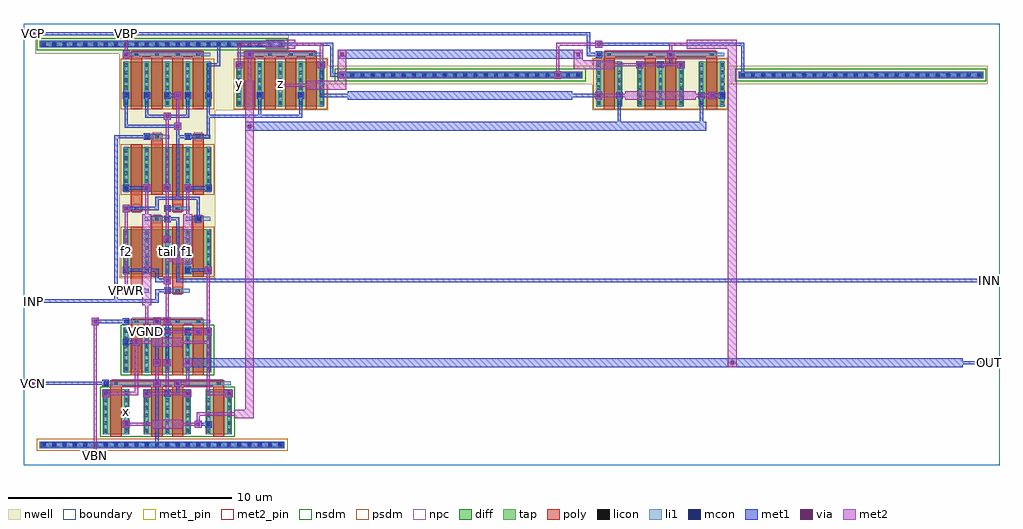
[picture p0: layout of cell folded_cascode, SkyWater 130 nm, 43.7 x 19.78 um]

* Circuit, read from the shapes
.subckt folded_cascode INN INP OUT VBN VBP VCN VCP VGND VPWR f1 f2 tail x y z
XM1 x VCN f1 VGND sky130_fd_pr__nfet_01v8 w=2 l=0.5 m=2
XM2 VGND VBN f1 VGND sky130_fd_pr__nfet_01v8 w=2 l=0.5 m=2
XM3 OUT VCN f2 VGND sky130_fd_pr__nfet_01v8 w=2 l=0.5 m=2
XM4 f2 VBN VGND VGND sky130_fd_pr__nfet_01v8 w=2 l=0.5 m=2
XM5 f2 VPWR f2 VPWR sky130_fd_pr__pfet_01v8 w=2 l=0.5 m=2
XM6 f1 VPWR f1 VPWR sky130_fd_pr__pfet_01v8 w=2 l=0.5 m=2
XM7 tail VBP VPWR VPWR sky130_fd_pr__pfet_01v8 w=2 l=0.5 m=4
XM8 tail INN f2 VPWR sky130_fd_pr__pfet_01v8 w=2 l=0.5 m=2
XM9 tail INP f1 VPWR sky130_fd_pr__pfet_01v8 w=2 l=0.5 m=2
XM10 VPWR x y VPWR sky130_fd_pr__pfet_01v8 w=2 l=0.5 m=2
XM11 z x VPWR VPWR sky130_fd_pr__pfet_01v8 w=2 l=0.5 m=2
XM12 x VCP y VPWR sky130_fd_pr__pfet_01v8 w=2 l=0.5 m=2
XM13 OUT VCP z VPWR sky130_fd_pr__pfet_01v8 w=2 l=0.5 m=2
.ends

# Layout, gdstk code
import gdstk
lib = gdstk.Library(unit=1e-6, precision=1e-09)
def R(c, l, rs):  # rectangles x0, y0, x1, y1
    for r in rs: c.add(gdstk.rectangle(r[:2], r[2:], *l))
def A(c, l, x, y, w, h, nx, ny, dx, dy):  # array of equal rectangles
    R(c, l, [(x+i*dx, y+j*dy, x+i*dx+w, y+j*dy+h) for i in range(nx) for j in range(ny)])
nwell = (64, 20)
diff = (65, 20)
tap = (65, 44)
poly = (66, 20)
licon = (66, 44)
li1 = (67, 20)
mcon = (67, 44)
met1_pin = (68, 16)
met1 = (68, 20)
via = (68, 44)
met2_pin = (69, 16)
met2 = (69, 20)
nsdm = (93, 44)
psdm = (94, 20)
npc = (95, 20)
boundary = (235, 4)

folded_cascode = lib.new_cell('folded_cascode')
R(folded_cascode, nwell, [(4.295,8.385,8.585,15.9), (4.295,15.9,13.645,17.06), (25.455,15.9,31.585,17.06), (4.295,17.06,43.165,17.9), (4.295,17.9,13.645,18.26), (25.455,17.9,31.585,18.26), (4.295,18.26,11.885,18.44), (0.535,18.44,11.885,19.28)])
R(folded_cascode, diff, [(3.555,1.405,4.725,3.405), (5.395,1.405,7.485,3.405), (8.155,1.405,9.325,3.405), (4.475,4.165,8.405,6.165), (4.475,8.565,8.405,10.565), (4.475,12.245,8.405,14.245), (4.475,16.08,8.405,18.08), (9.535,16.08,13.465,18.08), (25.635,16.08,26.805,18.08), (27.475,16.08,29.565,18.08), (30.235,16.08,31.405,18.08)])
R(folded_cascode, tap, [(0.715,0.775,11.705,1.065), (14.055,17.335,25.045,17.625), (31.995,17.335,42.985,17.625), (0.715,18.715,11.705,19.005)])
A(folded_cascode, poly, 4.81, 4.035, 0.5, 2.405, 4, 1, 0.92, 0)
A(folded_cascode, poly, 4.81, 15.95, 0.5, 2.45, 4, 1, 0.92, 0)
A(folded_cascode, poly, 9.87, 15.95, 0.5, 2.45, 4, 1, 0.92, 0)
R(folded_cascode, poly, [(3.89,1.275,4.39,3.68), (5.73,1.275,6.23,3.68), (6.65,1.275,7.15,3.68), (8.49,1.275,8.99,3.68), (3.89,3.545,8.99,3.815), (4.81,6.305,8.07,6.575), (4.81,7.685,5.31,7.955), (6.65,7.685,7.15,7.955), (4.81,7.82,5.31,10.695), (6.65,7.82,7.15,10.695), (5.73,8.435,6.23,11.04), (7.57,8.435,8.07,11.04), (5.73,10.905,6.23,11.175), (7.57,10.905,8.07,11.175), (4.81,11.365,5.31,11.635), (6.65,11.365,7.15,11.635), (4.81,11.5,5.31,14.375), (6.65,11.5,7.15,14.375), (5.73,12.115,6.23,14.72), (7.57,12.115,8.07,14.72), (5.73,14.585,6.23,14.855), (7.57,14.585,8.07,14.855), (25.97,15.95,26.47,18.4), (27.81,15.95,28.31,18.4), (28.73,15.95,29.23,18.4), (30.57,15.95,31.07,18.4), (4.81,18.265,8.07,18.535), (9.87,18.265,13.13,18.535), (25.97,18.265,31.07,18.535)])
A(folded_cascode, licon, 0.835, 0.835, 0.17, 0.17, 24, 2, 0.46, 17.94)
A(folded_cascode, licon, 3.595, 1.47, 0.17, 0.17, 7, 6, 0.92, 0.34)
A(folded_cascode, licon, 4.515, 4.23, 0.17, 0.17, 5, 6, 0.92, 0.34)
A(folded_cascode, licon, 4.975, 6.355, 0.17, 0.17, 4, 2, 0.92, 11.96)
A(folded_cascode, licon, 4.515, 8.63, 0.17, 0.17, 5, 6, 0.92, 0.34)
A(folded_cascode, licon, 4.515, 12.31, 0.17, 0.17, 5, 6, 0.92, 0.34)
A(folded_cascode, licon, 4.515, 16.145, 0.17, 0.17, 5, 6, 0.92, 0.34)
A(folded_cascode, licon, 9.575, 16.145, 0.17, 0.17, 5, 6, 0.92, 0.34)
A(folded_cascode, licon, 25.675, 16.145, 0.17, 0.17, 7, 6, 0.92, 0.34)
A(folded_cascode, licon, 14.175, 17.395, 0.17, 0.17, 24, 1, 0.46, 0)
A(folded_cascode, licon, 32.115, 17.395, 0.17, 0.17, 24, 1, 0.46, 0)
A(folded_cascode, licon, 10.035, 18.315, 0.17, 0.17, 4, 1, 0.92, 0)
R(folded_cascode, licon, [(4.055,3.595,4.225,3.765), (5.895,3.595,6.065,3.765), (6.815,3.595,6.985,3.765), (8.655,3.595,8.825,3.765), (4.975,7.735,5.145,7.905), (6.815,7.735,6.985,7.905), (5.895,10.955,6.065,11.125), (7.735,10.955,7.905,11.125), (4.975,11.415,5.145,11.585), (6.815,11.415,6.985,11.585), (5.895,14.635,6.065,14.805), (7.735,14.635,7.905,14.805), (26.135,18.315,26.305,18.485), (27.975,18.315,28.145,18.485), (28.895,18.315,29.065,18.485), (30.735,18.315,30.905,18.485)])
A(folded_cascode, li1, 3.595, 1.39, 0.17, 2.03, 7, 1, 0.92, 0)
A(folded_cascode, li1, 4.515, 4.15, 0.17, 2.03, 5, 2, 0.92, 4.4)
A(folded_cascode, li1, 4.515, 12.23, 0.17, 2.03, 5, 2, 0.92, 3.835)
A(folded_cascode, li1, 9.575, 16.065, 0.17, 2.03, 5, 1, 0.92, 0)
A(folded_cascode, li1, 25.675, 16.065, 0.17, 2.03, 7, 1, 0.92, 0)
R(folded_cascode, li1, [(0.755,0.835,11.665,1.005), (3.595,3.595,9.285,3.765), (4.515,6.355,8.365,6.525), (4.515,7.735,5.605,7.905), (6.355,7.735,7.445,7.905), (5.435,10.955,6.525,11.125), (7.275,10.955,8.365,11.125), (4.515,11.415,5.605,11.585), (6.355,11.415,7.445,11.585), (5.435,14.635,6.525,14.805), (7.275,14.635,8.365,14.805), (14.095,17.395,25.005,17.565), (32.035,17.395,42.945,17.565), (4.515,18.315,8.365,18.485), (9.575,18.315,13.425,18.485), (25.675,18.315,31.365,18.485), (0.755,18.775,11.665,18.945)])
A(folded_cascode, mcon, 0.835, 0.835, 0.17, 0.17, 24, 2, 0.46, 17.94)
A(folded_cascode, mcon, 5.435, 3.135, 0.17, 0.17, 3, 1, 0.92, 0)
A(folded_cascode, mcon, 5.435, 5.895, 0.17, 0.17, 4, 1, 0.92, 0)
A(folded_cascode, mcon, 4.515, 12.335, 0.17, 0.17, 5, 2, 0.92, 4.14)
A(folded_cascode, mcon, 14.175, 17.395, 0.17, 0.17, 24, 1, 0.46, 0)
A(folded_cascode, mcon, 32.115, 17.395, 0.17, 0.17, 24, 1, 0.46, 0)
A(folded_cascode, mcon, 27.515, 17.855, 0.17, 0.17, 3, 1, 0.92, 0)
R(folded_cascode, mcon, [(4.515,1.755,4.685,1.925), (8.195,1.755,8.365,1.925), (3.595,3.135,3.765,3.305), (9.115,3.135,9.285,3.305), (3.595,3.595,3.765,3.765), (4.515,5.435,4.685,5.605), (4.515,6.355,4.685,6.525), (4.515,7.735,4.685,7.905), (6.355,7.735,6.525,7.905), (4.515,8.655,4.685,8.825), (5.435,8.655,5.605,8.825), (7.275,8.655,7.445,8.825), (8.195,8.655,8.365,8.825), (6.355,10.035,6.525,10.205), (6.355,10.955,6.525,11.125), (7.735,10.955,7.905,11.125), (4.515,11.415,4.685,11.585), (6.355,11.415,6.525,11.585), (5.435,14.635,5.605,14.805), (7.275,14.635,7.445,14.805), (10.495,16.475,10.665,16.645), (12.335,16.475,12.505,16.645), (25.675,16.475,25.845,16.645), (26.595,16.475,26.765,16.645), (30.275,16.475,30.445,16.645), (31.195,16.475,31.365,16.645), (11.415,16.935,11.585,17.105), (9.575,17.855,9.745,18.025), (13.255,17.855,13.425,18.025), (4.515,18.315,4.685,18.485), (10.035,18.315,10.205,18.485), (25.675,18.315,25.845,18.485)])
R(folded_cascode, met1_pin, [(5.375,5.835,5.665,6.125), (4.455,7.675,4.745,7.965)])
A(folded_cascode, met1, 3.52, 3.06, 0.32, 0.32, 4, 1, 1.84, 0)
A(folded_cascode, met1, 5.375, 3.075, 0.29, 0.29, 3, 1, 0.92, 0)
A(folded_cascode, met1, 6.28, 4.44, 0.32, 0.32, 1, 4, 0, 1.84)
A(folded_cascode, met1, 5.375, 5.835, 0.29, 0.29, 4, 1, 0.92, 0)
A(folded_cascode, met1, 5.36, 12.26, 0.32, 0.32, 3, 1, 0.92, 0)
A(folded_cascode, met1, 4.455, 12.275, 0.29, 0.29, 5, 2, 0.92, 4.14)
A(folded_cascode, met1, 27.455, 17.795, 0.29, 0.29, 3, 1, 0.92, 0)
R(folded_cascode, met1, [(0.775,0.775,11.645,1.065), (5.91,0.85,6.05,3.75), (5.91,0.85,6.05,0.99), (4.44,1.68,4.76,2), (7.66,1.68,7.98,2), (4.455,1.695,4.745,1.985), (8.135,1.695,8.425,1.985), (7.75,1.77,8.35,1.91), (3.535,3.075,3.825,3.365), (9.055,3.075,9.345,3.365), (6.37,3.15,6.97,3.29), (6.83,3.15,6.97,3.75), (0.3,3.52,0.62,3.84), (5.82,3.52,6.14,3.84), (6.74,3.52,7.06,3.84), (3.535,3.535,3.825,3.825), (0.39,3.61,3.75,3.75), (7.16,4.4,42.06,4.8), (7.16,4.4,7.56,4.8), (31.54,4.4,31.94,4.8), (5.82,4.44,6.14,4.76), (43.08,4.44,43.4,4.76), (5.91,4.53,6.05,6.05), (6.37,4.53,6.51,6.05), (41.79,4.53,43.31,4.67), (4.9,5.36,5.22,5.68), (4.455,5.375,4.745,5.665), (4.53,5.45,5.13,5.59), (7.66,5.82,7.98,6.14), (8.12,5.82,8.44,6.14), (5.45,5.91,6.05,6.05), (5.91,5.91,6.05,6.51), (6.37,5.91,6.51,6.51), (7.29,5.91,7.89,6.05), (3.06,6.28,3.38,6.6), (5.82,6.28,6.14,6.6), (4.455,6.295,4.745,6.585), (3.15,6.37,4.67,6.51), (0.3,7.2,0.62,7.52), (0.39,7.29,6.05,7.43), (4.07,7.29,4.21,14.79), (5.91,7.29,6.05,7.89), (4.44,7.66,4.76,7.98), (4.455,7.675,4.745,7.965), (6.295,7.675,6.585,7.965), (5.91,7.75,6.51,7.89), (43.08,8.12,43.4,8.44), (5.91,8.21,6.51,8.35), (5.91,8.21,6.05,8.81), (6.83,8.21,6.97,11.11), (6.83,8.21,43.31,8.35), (8.12,8.58,8.44,8.9), (4.455,8.595,4.745,8.885), (5.375,8.595,5.665,8.885), (7.215,8.595,7.505,8.885), (8.135,8.595,8.425,8.885), (4.53,8.67,5.59,8.81), (5.45,8.67,6.05,8.81), (7.29,8.67,8.35,8.81), (6.295,9.975,6.585,10.265), (6.295,10.895,6.585,11.185), (7.675,10.895,7.965,11.185), (6.37,10.97,6.97,11.11), (6.37,10.97,6.51,11.57), (7.75,10.97,7.89,12.03), (4.44,11.34,4.76,11.66), (4.455,11.355,4.745,11.645), (6.295,11.355,6.585,11.645), (4.53,11.43,6.05,11.57), (5.91,11.43,6.05,12.03), (5.91,11.89,7.89,12.03), (6.83,11.89,6.97,14.79), (4.53,12.35,5.59,12.49), (7.29,12.35,8.35,12.49), (5.375,14.575,5.665,14.865), (7.215,14.575,7.505,14.865), (4.07,14.65,5.59,14.79), (6.83,14.65,7.43,14.79), (6.83,14.65,6.97,15.25), (7.29,14.65,8.35,14.79), (8.21,14.65,8.35,16.63), (9.92,14.98,26.88,15.38), (9.92,14.98,10.32,15.38), (26.48,14.98,30.56,15.38), (6.74,15.02,7.06,15.34), (4.53,15.11,4.67,16.63), (4.53,15.11,6.97,15.25), (26.61,15.11,26.75,16.63), (30.29,15.11,30.43,16.63), (6.28,15.48,6.6,15.8), (5.45,15.57,5.59,16.63), (5.45,15.57,6.51,15.71), (6.37,15.57,7.43,15.71), (7.29,15.57,7.43,16.63), (8.21,15.57,10.65,15.71), (10.51,15.57,10.65,16.63), (10.51,15.57,12.49,15.71), (12.35,15.57,12.49,16.63), (14.52,16.36,24.58,16.76), (6.74,16.4,7.06,16.72), (25.6,16.4,25.92,16.72), (30.66,16.4,30.98,16.72), (10.435,16.415,10.725,16.705), (12.275,16.415,12.565,16.705), (25.615,16.415,25.905,16.705), (26.535,16.415,26.825,16.705), (30.215,16.415,30.505,16.705), (31.135,16.415,31.425,16.705), (6.37,16.49,6.97,16.63), (8.21,16.49,8.35,18.01), (13.27,16.49,14.79,16.63), (13.27,16.49,13.41,18.01), (24.31,16.49,25.83,16.63), (30.75,16.49,31.35,16.63), (11.34,16.86,11.66,17.18), (11.355,16.875,11.645,17.165), (23.76,17.32,24.08,17.64), (14.115,17.335,24.985,17.625), (32.055,17.335,42.925,17.625), (13.73,17.41,14.33,17.55), (13.73,17.41,13.87,18.93), (14.19,17.41,23.99,17.55), (14.19,17.41,14.33,17.55), (32.13,17.41,32.27,18.93), (32.13,17.41,32.27,17.55), (9.5,17.78,9.82,18.1), (13.18,17.78,13.5,18.1), (27.44,17.78,27.76,18.1), (29.28,17.78,29.6,18.1), (9.515,17.795,9.805,18.085), (13.195,17.795,13.485,18.085), (8.21,17.87,8.81,18.01), (8.67,17.87,8.81,18.93), (28.45,17.87,29.05,18.01), (28.91,17.87,29.05,18.47), (14.06,18.2,25.04,18.6), (14.06,18.2,14.46,18.6), (24.64,18.2,25.04,18.6), (4.44,18.24,4.76,18.56), (9.96,18.24,10.28,18.56), (28.82,18.24,29.14,18.56), (4.455,18.255,4.745,18.545), (9.975,18.255,10.265,18.545), (25.615,18.255,25.905,18.545), (25.23,18.33,25.83,18.47), (25.23,18.33,25.37,19.39), (25.6,18.7,25.92,19.02), (0.775,18.715,11.645,19.005), (8.67,18.79,8.81,18.93), (8.67,18.79,13.87,18.93), (25.69,18.79,32.27,18.93), (0.3,19.16,0.62,19.48), (0.39,19.25,25.37,19.39)])
A(folded_cascode, via, 3.605, 3.145, 0.15, 0.15, 4, 1, 1.84, 0)
A(folded_cascode, via, 6.365, 4.525, 0.15, 0.15, 1, 4, 0, 1.84)
A(folded_cascode, via, 5.445, 12.345, 0.15, 0.15, 3, 1, 0.92, 0)
R(folded_cascode, via, [(4.525,1.765,4.675,1.915), (7.745,1.765,7.895,1.915), (0.385,3.605,0.535,3.755), (5.905,3.605,6.055,3.755), (6.825,3.605,6.975,3.755), (5.905,4.525,6.055,4.675), (7.285,4.525,7.435,4.675), (31.665,4.525,31.815,4.675), (43.165,4.525,43.315,4.675), (4.985,5.445,5.135,5.595), (7.745,5.905,7.895,6.055), (8.205,5.905,8.355,6.055), (3.145,6.365,3.295,6.515), (5.905,6.365,6.055,6.515), (0.385,7.285,0.535,7.435), (4.525,7.745,4.675,7.895), (43.165,8.205,43.315,8.355), (8.205,8.665,8.355,8.815), (4.525,11.425,4.675,11.575), (6.825,15.105,6.975,15.255), (10.045,15.105,10.195,15.255), (6.365,15.565,6.515,15.715), (6.825,16.485,6.975,16.635), (25.685,16.485,25.835,16.635), (30.745,16.485,30.895,16.635), (11.425,16.945,11.575,17.095), (23.845,17.405,23.995,17.555), (9.585,17.865,9.735,18.015), (13.265,17.865,13.415,18.015), (27.525,17.865,27.675,18.015), (29.365,17.865,29.515,18.015), (4.525,18.325,4.675,18.475), (10.045,18.325,10.195,18.475), (14.185,18.325,14.335,18.475), (24.765,18.325,24.915,18.475), (28.905,18.325,29.055,18.475), (25.685,18.785,25.835,18.935), (0.385,19.245,0.535,19.395)])
R(folded_cascode, met2_pin, [(3.07,0.31,3.37,0.61), (0.31,3.53,0.61,3.83), (43.09,4.45,43.39,4.75), (0.31,7.21,0.61,7.51), (43.09,8.13,43.39,8.43), (0.31,19.17,0.61,19.47), (4.45,19.17,4.75,19.47)])
A(folded_cascode, met2, 3.52, 3.06, 0.32, 0.32, 4, 1, 1.84, 0)
A(folded_cascode, met2, 6.28, 4.44, 0.32, 0.32, 1, 4, 0, 1.84)
A(folded_cascode, met2, 5.36, 12.26, 0.32, 0.32, 3, 1, 0.92, 0)
R(folded_cascode, met2, [(3.07,0.31,3.37,0.61), (3.15,0.39,3.29,0.53), (3.15,0.39,3.29,6.51), (5.78,1.64,7.1,2.04), (4.44,1.68,4.76,2), (7.66,1.68,7.98,2), (4.53,1.77,6.05,1.91), (6.83,1.77,7.89,1.91), (7.75,1.77,7.89,2.37), (9.46,2.1,10.32,2.5), (9.92,2.1,10.32,17.22), (7.75,2.23,9.73,2.37), (3.61,3.15,5.13,3.29), (4.99,3.15,5.13,5.59), (5.45,3.15,6.51,3.29), (6.37,3.15,7.43,3.29), (6.37,3.15,6.51,4.67), (8.21,3.15,9.27,3.29), (8.21,3.15,8.35,6.05), (0.3,3.52,0.62,3.84), (5.82,3.52,6.14,3.84), (6.74,3.52,7.06,3.84), (0.31,3.53,0.61,3.83), (0.39,3.61,0.53,3.75), (5.91,3.61,6.05,4.67), (6.83,3.61,7.43,3.75), (7.29,3.61,7.43,4.67), (7.16,4.4,7.56,4.8), (31.54,4.4,31.94,19.06), (31.54,4.4,31.94,4.8), (5.82,4.44,6.14,4.76), (43.08,4.44,43.4,4.76), (43.09,4.45,43.39,4.75), (43.17,4.53,43.31,4.67), (5.78,5.32,7.1,5.72), (4.9,5.36,5.22,5.68), (4.99,5.45,6.05,5.59), (5.45,5.45,5.59,7.43), (6.83,5.45,8.35,5.59), (7.66,5.82,7.98,6.14), (8.12,5.82,8.44,6.14), (5.91,5.91,7.89,6.05), (5.91,5.91,6.05,6.51), (8.21,5.91,8.35,8.81), (3.06,6.28,3.38,6.6), (5.82,6.28,6.14,6.6), (6.37,6.37,6.51,8.35), (5.32,7.16,5.72,11.24), (0.3,7.2,0.62,7.52), (0.31,7.21,0.61,7.51), (0.39,7.29,0.53,7.43), (4.44,7.66,4.76,7.98), (4.53,7.75,4.67,11.57), (43.08,8.12,43.4,8.44), (43.09,8.13,43.39,8.43), (6.37,8.21,6.51,9.27), (43.17,8.21,43.31,8.35), (8.12,8.58,8.44,8.9), (6.7,9,7.56,9.4), (7.16,9,7.56,11.24), (6.37,9.13,6.97,9.27), (6.37,10.05,6.51,12.49), (5.45,10.97,5.59,12.49), (7.29,10.97,7.43,12.49), (4.44,11.34,4.76,11.66), (6.37,12.35,6.51,15.71), (9.92,14.98,10.32,15.38), (6.74,15.02,7.06,15.34), (6.83,15.11,6.97,16.63), (6.28,15.48,6.6,15.8), (26.94,16.36,30.1,16.76), (6.74,16.4,7.06,16.72), (25.6,16.4,25.92,16.72), (30.66,16.4,30.98,16.72), (25.69,16.49,27.21,16.63), (29.83,16.49,30.89,16.63), (12.68,16.82,14.46,17.22), (14.06,16.82,14.46,18.6), (11.34,16.86,11.66,17.18), (10.05,16.95,10.19,18.47), (11.43,16.95,12.95,17.09), (23.76,17.32,24.08,17.64), (23.85,17.41,23.99,18.93), (24.64,17.74,25.04,18.6), (24.64,17.74,26.42,18.14), (9.5,17.78,9.82,18.1), (13.18,17.78,13.5,18.1), (27.44,17.78,27.76,18.1), (29.28,17.78,29.6,18.1), (9.59,17.87,9.73,18.93), (13.27,17.87,13.41,18.93), (26.15,17.87,27.67,18.01), (27.53,17.87,29.51,18.01), (14.06,18.2,14.46,18.6), (24.64,18.2,25.04,18.6), (4.44,18.24,4.76,18.56), (9.96,18.24,10.28,18.56), (28.82,18.24,29.14,18.56), (4.53,18.33,4.67,19.39), (28.91,18.33,29.05,18.93), (10.84,18.66,12.16,19.06), (29.7,18.66,31.94,19.06), (25.6,18.7,25.92,19.02), (9.59,18.79,11.11,18.93), (11.89,18.79,13.41,18.93), (23.85,18.79,25.83,18.93), (28.91,18.79,29.97,18.93), (0.3,19.16,0.62,19.48), (0.31,19.17,0.61,19.47), (4.45,19.17,4.75,19.47), (0.39,19.25,0.53,19.39), (4.53,19.25,4.67,19.39)])
R(folded_cascode, nsdm, [(3.43,1.28,9.45,3.53), (4.35,4.04,8.53,6.29), (13.93,17.21,25.17,17.75), (31.87,17.21,43.11,17.75), (0.59,18.59,11.83,19.13)])
R(folded_cascode, psdm, [(0.59,0.65,11.83,1.19), (4.35,8.44,8.53,10.69), (4.35,12.12,8.53,14.37), (4.35,15.955,8.53,18.205), (9.41,15.955,13.59,18.205), (25.51,15.955,31.53,18.205)])
R(folded_cascode, npc, [(3.955,3.495,8.925,3.865), (4.875,6.255,8.005,6.625), (4.875,7.635,5.245,8.005), (6.715,7.635,7.085,8.005), (5.795,10.855,6.165,11.225), (7.635,10.855,8.005,11.225), (4.875,11.315,5.245,11.685), (6.715,11.315,7.085,11.685), (5.795,14.535,6.165,14.905), (7.635,14.535,8.005,14.905), (4.875,18.215,8.005,18.585), (9.935,18.215,13.065,18.585), (26.035,18.215,31.005,18.585)])
R(folded_cascode, boundary, [(0,0,43.7,19.78)])
folded_cascode.add(gdstk.Label('f2', (4.6,9.565), layer=67, texttype=5))
folded_cascode.add(gdstk.Label('tail', (6.44,9.565), layer=67, texttype=5))
folded_cascode.add(gdstk.Label('f1', (7.36,9.565), layer=67, texttype=5))
folded_cascode.add(gdstk.Label('x', (4.6,2.405), layer=67, texttype=5))
folded_cascode.add(gdstk.Label('y', (9.66,17.08), layer=67, texttype=5))
folded_cascode.add(gdstk.Label('z', (11.5,17.08), layer=67, texttype=5))
folded_cascode.add(gdstk.Label('VPWR', (4.6,7.82), layer=68, texttype=5))
folded_cascode.add(gdstk.Label('VGND', (5.52,5.98), layer=68, texttype=5))
folded_cascode.add(gdstk.Label('INP', (0.46,7.36), layer=69, texttype=5))
folded_cascode.add(gdstk.Label('INN', (43.24,8.28), layer=69, texttype=5))
folded_cascode.add(gdstk.Label('VBP', (4.6,19.32), layer=69, texttype=5))
folded_cascode.add(gdstk.Label('VBN', (3.22,0.46), layer=69, texttype=5))
folded_cascode.add(gdstk.Label('VCN', (0.46,3.68), layer=69, texttype=5))
folded_cascode.add(gdstk.Label('VCP', (0.46,19.32), layer=69, texttype=5))
folded_cascode.add(gdstk.Label('OUT', (43.24,4.6), layer=69, texttype=5))
folded_cascode.add(gdstk.Label('VPWR', (4.6,7.82), layer=68, texttype=16))
folded_cascode.add(gdstk.Label('VGND', (5.52,5.98), layer=68, texttype=16))
folded_cascode.add(gdstk.Label('INP', (0.46,7.36), layer=69, texttype=16))
folded_cascode.add(gdstk.Label('INN', (43.24,8.28), layer=69, texttype=16))
folded_cascode.add(gdstk.Label('VBP', (4.6,19.32), layer=69, texttype=16))
folded_cascode.add(gdstk.Label('VBN', (3.22,0.46), layer=69, texttype=16))
folded_cascode.add(gdstk.Label('VCN', (0.46,3.68), layer=69, texttype=16))
folded_cascode.add(gdstk.Label('VCP', (0.46,19.32), layer=69, texttype=16))
folded_cascode.add(gdstk.Label('OUT', (43.24,4.6), layer=69, texttype=16))

lib.write_gds('folded_cascode.gds')
